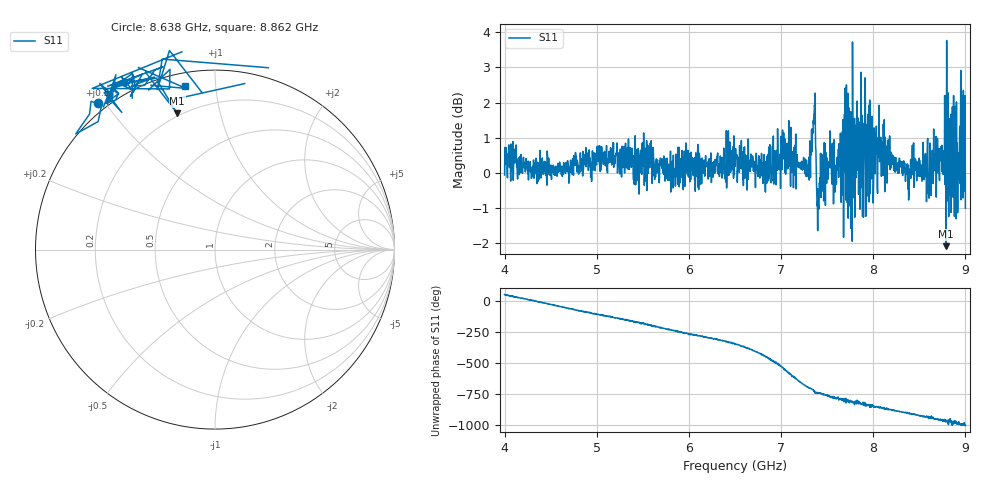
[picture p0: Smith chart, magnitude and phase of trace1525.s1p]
! Created with skrf 1.8.0 (http://scikit-rf.org).
# Hz S RI R 50.0
!freq ReS11 ImS11
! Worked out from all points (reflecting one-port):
!   1601 points, 4 GHz to 9 GHz, reference 50 ohm
!   lowest |S11| = -2.1 dB at 8.791 GHz (marker M1), VSWR 8.39, Z = 9.33 + j37.2 ohm
!   phase of S11 starts at 51 deg and turns -1059 deg over the sweep
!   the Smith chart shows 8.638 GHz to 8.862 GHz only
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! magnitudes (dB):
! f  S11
! 4 GHz  -0.1
! 4.625 GHz  -0.1
! 5.25 GHz  0.0
! 5.875 GHz  0.1
! 6.5 GHz  0.2
! 6.819 GHz  -0.1
! 7.022 GHz  0.4
! 7.125 GHz  0.4
! 7.294 GHz  -0.1
! 7.347 GHz  1.2
! 7.409 GHz  -1.0
! 7.522 GHz  0.1
! 7.594 GHz  0.0
! 7.688 GHz  1.7
! 7.75 GHz  -0.9
! 7.875 GHz  0.1
! 7.891 GHz  0.6
! 7.909 GHz  1.4
! 7.928 GHz  0.8
! 7.981 GHz  -0.2
! 8.134 GHz  0.3
! 8.375 GHz  0.0
! 8.441 GHz  -0.4
! 8.622 GHz  0.4
! 8.791 GHz  -2.1
! 8.844 GHz  -1.1
! 8.972 GHz  0.6
! 9 GHz  -1.0
